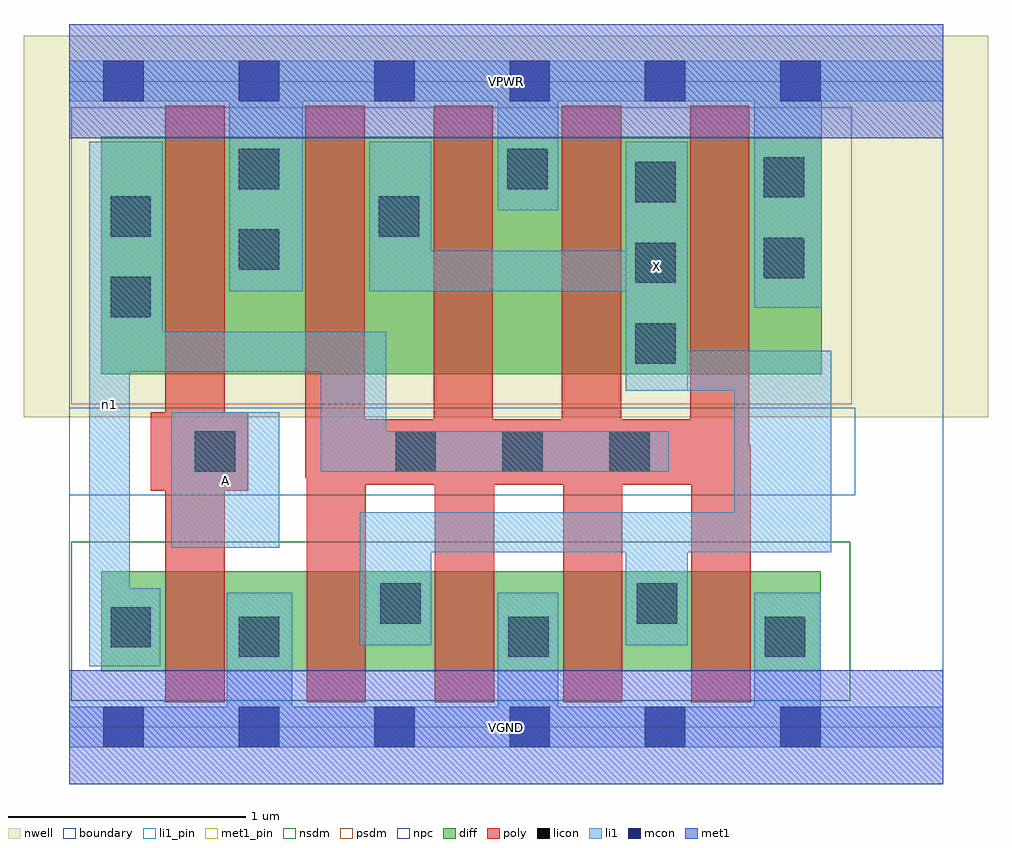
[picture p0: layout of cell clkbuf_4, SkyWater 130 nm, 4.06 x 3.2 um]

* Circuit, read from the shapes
.subckt clkbuf_4 A VGND VPWR X n1
XM1 VGND A n1 VSUBS sky130_fd_pr__nfet_01v8 w=0.42 l=0.25
XM2 X n1 VGND VSUBS sky130_fd_pr__nfet_01v8 w=0.42 l=0.25 m=4
XM3 VPWR A n1 n2 sky130_fd_pr__pfet_01v8 w=1 l=0.25
XM4 X n1 VPWR n2 sky130_fd_pr__pfet_01v8 w=1 l=0.25 m=4
.ends

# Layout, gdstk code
import gdstk
lib = gdstk.Library(unit=1e-6, precision=1e-09)
def R(c, l, rs):  # rectangles x0, y0, x1, y1
    for r in rs: c.add(gdstk.rectangle(r[:2], r[2:], *l))
def A(c, l, x, y, w, h, nx, ny, dx, dy):  # array of equal rectangles
    R(c, l, [(x+i*dx, y+j*dy, x+i*dx+w, y+j*dy+h) for i in range(nx) for j in range(ny)])
nwell = (64, 20)
diff = (65, 20)
poly = (66, 20)
licon = (66, 44)
li1_pin = (67, 16)
li1 = (67, 20)
mcon = (67, 44)
met1_pin = (68, 16)
met1 = (68, 20)
nsdm = (93, 44)
psdm = (94, 20)
npc = (95, 20)
boundary = (235, 4)

clkbuf_4 = lib.new_cell('clkbuf_4')
R(clkbuf_4, nwell, [(-0.19,1.305,3.87,2.91), (0,1.305,3.68,2.91)])
R(clkbuf_4, diff, [(0.135,0.235,3.165,0.655), (0.135,1.485,3.17,2.485)])
A(clkbuf_4, poly, 1, 0.105, 0.25, 1.19, 3, 1, 0.54, 0)
A(clkbuf_4, poly, 1.535, 1.02, 0.25, 1.595, 3, 1, 0.54, 0)
R(clkbuf_4, poly, [(0.405,0.105,0.655,2.615), (2.62,0.105,2.87,1.185), (0.345,0.995,0.755,1.325), (1,1.02,2.865,1.295), (0.995,1.05,1.245,2.615)])
A(clkbuf_4, licon, 1.375, 1.075, 0.17, 0.17, 3, 1, 0.45, 0)
A(clkbuf_4, licon, 2.385, 1.53, 0.17, 0.17, 1, 3, 0, 0.34)
R(clkbuf_4, licon, [(0.715,0.295,0.885,0.465), (1.85,0.295,2.02,0.465), (2.93,0.295,3.1,0.465), (0.175,0.335,0.345,0.505), (1.31,0.435,1.48,0.605), (2.39,0.435,2.56,0.605), (0.53,1.075,0.7,1.245), (0.175,1.725,0.345,1.895), (2.925,1.89,3.095,2.06), (0.715,1.925,0.885,2.095), (0.175,2.065,0.345,2.235), (1.305,2.065,1.475,2.235), (2.925,2.23,3.095,2.4), (0.715,2.265,0.885,2.435), (1.845,2.265,2.015,2.435)])
R(clkbuf_4, li1_pin, [(0.43,0.755,0.885,1.325), (2.345,1.415,2.605,2.465)])
R(clkbuf_4, li1, [(0,-0.085,3.68,0.085), (0.665,-0.085,0.94,0.565), (1.805,-0.085,2.06,0.565), (2.885,-0.085,3.165,0.565), (0.085,0.255,0.255,2.465), (0.085,0.255,0.385,0.585), (1.225,0.345,1.525,0.905), (2.345,0.345,2.605,0.905), (1.225,0.735,3.21,0.905), (2.8,0.735,3.21,1.585), (0.43,0.755,0.885,1.325), (1.06,1.075,2.525,1.245), (1.06,1.075,1.335,1.665), (2.345,1.415,2.605,2.465), (2.345,1.415,3.21,1.585), (0.085,1.495,1.335,1.665), (0.085,1.495,0.395,2.465), (2.885,1.765,3.17,2.805), (0.675,1.835,0.985,2.805), (1.265,1.835,1.525,2.465), (1.265,1.835,2.605,2.005), (1.805,2.175,2.06,2.805), (0,2.635,3.68,2.805)])
A(clkbuf_4, mcon, 0.145, -0.085, 0.17, 0.17, 6, 2, 0.57, 2.72)
R(clkbuf_4, met1_pin, [(0,-0.24,3.68,0.24), (0,2.48,3.68,2.96)])
R(clkbuf_4, met1, [(0,-0.24,3.68,0.24), (0,2.48,3.68,2.96)])
R(clkbuf_4, nsdm, [(0.01,0.11,3.29,0.78)])
R(clkbuf_4, psdm, [(0.01,1.36,3.295,2.61)])
R(clkbuf_4, npc, [(0,0.975,3.31,1.345)])
R(clkbuf_4, boundary, [(0,0,3.68,2.72)])
clkbuf_4.add(gdstk.Label('A', (0.657,1.04), layer=67, texttype=5))
clkbuf_4.add(gdstk.Label('X', (2.475,1.94), layer=67, texttype=5))
clkbuf_4.add(gdstk.Label('n1', (0.17,1.36), layer=67, texttype=5))
clkbuf_4.add(gdstk.Label('VPWR', (1.84,2.72), layer=68, texttype=5))
clkbuf_4.add(gdstk.Label('VGND', (1.84,0), layer=68, texttype=5))
clkbuf_4.add(gdstk.Label('A', (0.657,1.04), layer=67, texttype=16))
clkbuf_4.add(gdstk.Label('X', (2.475,1.94), layer=67, texttype=16))
clkbuf_4.add(gdstk.Label('VPWR', (1.84,2.72), layer=68, texttype=16))
clkbuf_4.add(gdstk.Label('VGND', (1.84,0), layer=68, texttype=16))

lib.write_gds('clkbuf_4.gds')
